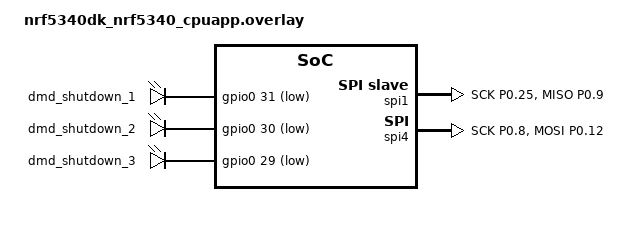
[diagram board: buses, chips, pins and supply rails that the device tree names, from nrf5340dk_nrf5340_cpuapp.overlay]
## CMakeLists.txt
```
cmake_minimum_required(VERSION 3.20.0)

set(BOARD nrf5340dk/nrf5340/cpuapp)

find_package(Zephyr REQUIRED HINTS $ENV{ZEPHYR_BASE})
project(oh_my_dmd)

target_sources(app PRIVATE
    src/main.c
    src/dmd_control.c
    src/vlc_tx.c
)

target_include_directories(app PRIVATE src)
```

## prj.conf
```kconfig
CONFIG_GPIO=y

CONFIG_CONSOLE=y
CONFIG_PRINTK=y
CONFIG_SERIAL=y
CONFIG_STDOUT_CONSOLE=y
CONFIG_UART_CONSOLE=y

CONFIG_NRFX_SPIS=y
CONFIG_NRFX_SPIM=y
CONFIG_NRFX_TIMER=y

CONFIG_MAIN_THREAD_PRIORITY=5
CONFIG_MAIN_STACK_SIZE=2048
```

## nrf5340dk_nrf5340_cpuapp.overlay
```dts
&pinctrl {
    dmd_spis1_default: dmd_spis1_default {
        group1 {
            psels = <NRF_PSEL(SPIS_SCK, 0, 25)>,
                    <NRF_PSEL(SPIS_MISO, 0, 9)>;
        };
    };

    dmd_spim4_default: dmd_spim4_default {
        group1 {
            psels = <NRF_PSEL(SPIM_SCK, 0, 8)>,
                    <NRF_PSEL(SPIM_MOSI, 0, 12)>;
        };
    };

    dmd_spim4_sleep: dmd_spim4_sleep {
        group1 {
            psels = <NRF_PSEL(SPIM_SCK, 0, 8)>,
                    <NRF_PSEL(SPIM_MOSI, 0, 12)>;
            low-power-enable;
        };
    };
};

&spi1 {
    status = "okay";
    compatible = "nordic,nrf-spis";
    pinctrl-0 = <&dmd_spis1_default>;
    pinctrl-names = "default";
    def-char = <0x00>;
};

&spi4 {
    status = "okay";
    compatible = "nordic,nrf-spim";
    pinctrl-0 = <&dmd_spim4_default>;
    pinctrl-1 = <&dmd_spim4_sleep>;
    pinctrl-names = "default", "sleep";
};

/ {
    aliases {
        shut1 = &dmd_shutdown_1;
        shut2 = &dmd_shutdown_2;
        shut3 = &dmd_shutdown_3;
    };

    dmd_shutdowns {
        compatible = "gpio-leds";

        dmd_shutdown_1: dmd_shutdown_1 {
            gpios = <&gpio0 31 GPIO_ACTIVE_LOW>;
        };

        dmd_shutdown_2: dmd_shutdown_2 {
            gpios = <&gpio0 30 GPIO_ACTIVE_LOW>;
        };

        dmd_shutdown_3: dmd_shutdown_3 {
            gpios = <&gpio0 29 GPIO_ACTIVE_LOW>;
        };
    };
};
```

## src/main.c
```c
#include <errno.h>
#include <stdint.h>

#include <zephyr/kernel.h>
#include <zephyr/sys/printk.h>

#include "vlc_tx.h"

int main(void) {
  printk("oh-my-dmd\n");

  int ret = vlc_tx_init();

  if (ret != 0) {
    printk("VLC TX init failed: %d\n", ret);
    return ret;
  }

  printk("VLC TX ready\n");

  uint32_t sequence = 0;
  char message[64];

  while (true) {
    // Send START to indicate start of transmission
    int len = snprintk(message, sizeof(message), "START");
    if (len < 0 || (size_t)len >= sizeof(message)) {
      printk("Message formatting failed: %d\n", len);
      return -EINVAL;
    }
    int ret = vlc_tx_send((const uint8_t *)message, (uint32_t)len, K_FOREVER);
    if (ret != 0) {
      printk("VLC TX send failed: %d\n", ret);
      return ret;
    }

    sequence = 0;
    for (int i = 0; i < 1000; ++i) {
      int len = snprintk(message, sizeof(message), "Hello, world! seq=%lu",
                         (unsigned long)sequence);

      if (len < 0 || (size_t)len >= sizeof(message)) {
        printk("Message formatting failed: %d\n", len);
        return -EINVAL;
      }

      ret = vlc_tx_send((const uint8_t *)message, (uint32_t)len, K_FOREVER);

      if (ret != 0) {
        printk("VLC TX send failed: %d\n", ret);
        return ret;
      }

      ret = vlc_tx_get_error();

      if (ret != 0) {
        printk("VLC TX failed: %d\n", ret);
        return ret;
      }

      printk("Sent: %s\n", message);

      ++sequence;
      k_msleep(5);
    }

    // Send STOP to indicate end of transmission
    len = snprintk(message, sizeof(message), "STOP");
    if (len < 0 || (size_t)len >= sizeof(message)) {
      printk("Message formatting failed: %d\n", len);
      return -EINVAL;
    }
    ret = vlc_tx_send((const uint8_t *)message, (uint32_t)len, K_FOREVER);
    if (ret != 0) {
      printk("VLC TX send failed: %d\n", ret);
      return ret;
    }
    k_msleep(3000);
  }
}
```

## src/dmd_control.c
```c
#include "dmd_control.h"

#include <errno.h>

#include <nrfx_clock.h>
#include <nrfx_spim.h>
#include <nrfx_spis.h>
#include <zephyr/devicetree.h>
#include <zephyr/drivers/gpio.h>
#include <zephyr/irq.h>
#include <zephyr/kernel.h>
#include <zephyr/sys/util.h>

#define DMD_WAVEFORM_BYTES 14
#define DMD_SPIM_FREQUENCY_MHZ 16

#ifndef DMD_SPIM_IRQ_PRIORITY
#define DMD_SPIM_IRQ_PRIORITY 1
#endif

#ifndef DMD_DRC_B_CLK_PIN
#define DMD_DRC_B_CLK_PIN 8
#endif

#ifndef DMD_DRC_B_DATA_PIN
#define DMD_DRC_B_DATA_PIN 12
#endif

#ifndef DMD_DRC_B_LOADB_PIN
#define DMD_DRC_B_LOADB_PIN 6
#endif

#ifndef DMD_DRC_S_CLK_PIN
#define DMD_DRC_S_CLK_PIN 25
#endif

#ifndef DMD_DRC_S_CSN_PIN
#define DMD_DRC_S_CSN_PIN 26
#endif

#ifndef DMD_DRC_S_DATA_PIN
#define DMD_DRC_S_DATA_PIN 9
#endif

#ifndef DMD_POWER_RAIL_SETTLE_MS
#define DMD_POWER_RAIL_SETTLE_MS 5000
#endif

#ifndef DMD_BOOT_SETTLE_MS
#define DMD_BOOT_SETTLE_MS 5000
#endif

static nrfx_spim_t dmd_spim = NRFX_SPIM_INSTANCE(NRF_SPIM_INST_GET(4));
static nrfx_spis_t dmd_spis = NRFX_SPIS_INSTANCE(NRF_SPIS_INST_GET(1));

static bool dmd_initialized;
static volatile bool dmd_spim_busy;

static uint8_t dmd_drc_b_0[DMD_WAVEFORM_BYTES] = {
    0xFF, 0xFF, 0xFF, 0xC6, 0x7F, 0xFF, 0xC0,
    0x7F, 0xFF, 0x05, 0xFF, 0xFF, 0xFF, 0xFF,
};

static uint8_t dmd_drc_b_1[DMD_WAVEFORM_BYTES] = {
    0xFF, 0xFF, 0xFF, 0x86, 0x7F, 0xFF, 0x80,
    0x7F, 0xFE, 0x05, 0xFF, 0xFF, 0xFF, 0xFF,
};

static uint8_t dmd_sac_b_buffer[DMD_WAVEFORM_BYTES] = {
    0x00, 0x00, 0x00, 0x80, 0x00, 0x00, 0x80,
    0x00, 0x02, 0x00, 0x00, 0x00, 0x00, 0x00,
};

static const struct gpio_dt_spec dmd_shutdowns[] = {
    GPIO_DT_SPEC_GET(DT_ALIAS(shut1), gpios),
    GPIO_DT_SPEC_GET(DT_ALIAS(shut2), gpios),
    GPIO_DT_SPEC_GET(DT_ALIAS(shut3), gpios),
};

static nrfx_spim_config_t dmd_make_spim_config(void) {
  nrfx_spim_config_t spim_config =
      NRFX_SPIM_DEFAULT_CONFIG(DMD_DRC_B_CLK_PIN, DMD_DRC_B_DATA_PIN,
                               NRF_SPIM_PIN_NOT_CONNECTED, DMD_DRC_B_LOADB_PIN);

  spim_config.frequency = NRFX_MHZ_TO_HZ(DMD_SPIM_FREQUENCY_MHZ);
  spim_config.mode = NRF_SPIM_MODE_2;
  spim_config.irq_priority = DMD_SPIM_IRQ_PRIORITY;
#if NRF_SPIM_HAS_HW_CSN
  spim_config.use_hw_ss = true;
  spim_config.ss_duration = 8;
#endif

  return spim_config;
}

static void shift_right(uint8_t *data, size_t len, uint8_t shift) {
  while (shift-- > 0) {
    for (size_t i = len - 1; i > 0; --i) {
      uint8_t carry = (data[i - 1] & 1U) ? 0x80 : 0x00;

      data[i] = carry | (data[i] >> 1);
    }

    data[0] >>= 1;
  }
}

static void dmd_spis_handler(nrfx_spis_event_t const *event, void *context) {
  ARG_UNUSED(context);

  if (event->evt_type != NRFX_SPIS_XFER_DONE) {
    return;
  }

  (void)nrfx_spis_buffers_set(&dmd_spis, dmd_sac_b_buffer,
                              sizeof(dmd_sac_b_buffer), NULL, 0);
}

static void dmd_spim_handler(nrfx_spim_event_t const *event, void *context) {
  ARG_UNUSED(context);

  if (event->type == NRFX_SPIM_EVENT_DONE) {
    dmd_spim_busy = false;
  }
}

static int dmd_control_power_up(void) {
  for (size_t i = 0; i < ARRAY_SIZE(dmd_shutdowns); ++i) {
    if (!gpio_is_ready_dt(&dmd_shutdowns[i])) {
      return -ENODEV;
    }

    int ret = gpio_pin_configure_dt(&dmd_shutdowns[i], GPIO_OUTPUT_ACTIVE);

    if (ret != 0) {
      return ret;
    }
  }

  k_msleep(DMD_POWER_RAIL_SETTLE_MS);

  for (size_t i = 0; i < ARRAY_SIZE(dmd_shutdowns); ++i) {
    int ret = gpio_pin_set_dt(&dmd_shutdowns[i], 0);

    if (ret != 0) {
      return ret;
    }
  }

  k_msleep(DMD_BOOT_SETTLE_MS);
  return 0;
}

int dmd_control_init(void) {
  if (dmd_initialized) {
    return 0;
  }

  int ret = dmd_control_power_up();

  if (ret != 0) {
    return ret;
  }

  nrfx_clock_divider_set(NRF_CLOCK_DOMAIN_HFCLK, NRF_CLOCK_HFCLK_DIV_1);

  IRQ_CONNECT(NRFX_IRQ_NUMBER_GET(NRF_SPIS_INST_GET(1)), IRQ_PRIO_LOWEST,
              nrfx_spis_irq_handler, &dmd_spis, 0);
  IRQ_CONNECT(NRFX_IRQ_NUMBER_GET(NRF_SPIM_INST_GET(4)), DMD_SPIM_IRQ_PRIORITY,
              nrfx_spim_irq_handler, &dmd_spim, 0);

  shift_right(dmd_sac_b_buffer, sizeof(dmd_sac_b_buffer), 2);

  nrfx_spis_config_t spis_config =
      NRFX_SPIS_DEFAULT_CONFIG(DMD_DRC_S_CLK_PIN, NRF_SPIS_PIN_NOT_CONNECTED,
                               DMD_DRC_S_DATA_PIN, DMD_DRC_S_CSN_PIN);

  spis_config.miso_drive = NRF_GPIO_PIN_H0H1;
  spis_config.mode = NRF_SPIS_MODE_2;
  spis_config.bit_order = NRF_SPIS_BIT_ORDER_MSB_FIRST;

  int err = nrfx_spis_init(&dmd_spis, &spis_config, dmd_spis_handler, NULL);

  if (err != 0 && err != -EALREADY) {
    return err;
  }

  err = nrfx_spis_buffers_set(&dmd_spis, dmd_sac_b_buffer,
                              sizeof(dmd_sac_b_buffer), NULL, 0);

  if (err != 0) {
    return err;
  }

  nrfx_spim_config_t spim_config = dmd_make_spim_config();

  err = nrfx_spim_init(&dmd_spim, &spim_config, dmd_spim_handler, NULL);

  if (err != 0 && err != -EALREADY) {
    return err;
  }

  dmd_spim_busy = false;
  dmd_initialized = true;

  return 0;
}

bool dmd_control_ready(void) { return dmd_initialized && !dmd_spim_busy; }

int dmd_send_bit_async(bool bit) {
  if (!dmd_initialized) {
    int ret = dmd_control_init();

    if (ret != 0) {
      return ret;
    }
  }

  if (dmd_spim_busy) {
    return -EBUSY;
  }

  uint8_t *tx_buffer = bit ? dmd_drc_b_1 : dmd_drc_b_0;

  nrfx_spim_xfer_desc_t xfer =
      NRFX_SPIM_XFER_TRX(tx_buffer, DMD_WAVEFORM_BYTES, NULL, 0);

  dmd_spim_busy = true;

  int err = nrfx_spim_xfer(&dmd_spim, &xfer, 0);

  if (err != 0) {
    dmd_spim_busy = false;
  }

  return err;
}

int dmd_send_bit(bool bit) {
  int ret = dmd_send_bit_async(bit);

  if (ret != 0) {
    return ret;
  }

  while (!dmd_control_ready()) {
    k_busy_wait(1);
  }

  return 0;
}
```

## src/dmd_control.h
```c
#pragma once

#include <stdbool.h>

int dmd_control_init(void);
int dmd_send_bit_async(bool bit);
bool dmd_control_ready(void);

int dmd_send_bit(bool bit);

static inline int dmd_send_0(void) { return dmd_send_bit(false); }

static inline int dmd_send_1(void) { return dmd_send_bit(true); }

static inline int dmd_send_0_async(void) { return dmd_send_bit_async(false); }

static inline int dmd_send_1_async(void) { return dmd_send_bit_async(true); }
```

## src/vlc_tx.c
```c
#include "vlc_tx.h"

#include <errno.h>
#include <stdbool.h>
#include <stdint.h>
#include <string.h>

#include <nrfx_timer.h>
#include <zephyr/irq.h>
#include <zephyr/kernel.h>
#include <zephyr/sys/clock.h>
#include <zephyr/sys/util.h>

#include "dmd_control.h"

#ifndef VLC_TX_MAX_PAYLOAD_LEN
#define VLC_TX_MAX_PAYLOAD_LEN 255
#endif

#ifndef VLC_TX_QUEUE_DEPTH
#define VLC_TX_QUEUE_DEPTH 4
#endif

#ifndef VLC_TX_HALF_BIT_US
#define VLC_TX_HALF_BIT_US 40
#endif

#ifndef VLC_TX_TIMER_INSTANCE
#define VLC_TX_TIMER_INSTANCE 2
#endif

#ifndef VLC_TX_TIMER_IRQ_PRIORITY
#define VLC_TX_TIMER_IRQ_PRIORITY 1
#endif

#ifndef VLC_TX_STAGING_THREAD_PRIORITY
#define VLC_TX_STAGING_THREAD_PRIORITY 1
#endif

#ifndef VLC_TX_STAGING_THREAD_STACK_SIZE
#define VLC_TX_STAGING_THREAD_STACK_SIZE 2048
#endif

#ifndef VLC_TX_WAIT_POLL_MS
#define VLC_TX_WAIT_POLL_MS 10
#endif

#ifndef VLC_TX_REMEMBER_LAST_BIT
#define VLC_TX_REMEMBER_LAST_BIT 1
#endif

#define VLC_TX_PREAMBLE_BYTE 0xAA
#define VLC_TX_PREAMBLE_LEN 4
#define VLC_TX_SFD 0xD5
#define VLC_TX_CRC_INIT 0xFFFF
#define VLC_TX_CRC_POLY 0x1021
#define VLC_TX_FRAME_OVERHEAD (VLC_TX_PREAMBLE_LEN + 1 + 1 + 2)
#define VLC_TX_MAX_FRAME_LEN (VLC_TX_FRAME_OVERHEAD + VLC_TX_MAX_PAYLOAD_LEN)
#define VLC_TX_FRAME_BUFFER_COUNT 2

struct vlc_tx_payload {
  uint8_t len;
  uint8_t data[VLC_TX_MAX_PAYLOAD_LEN];
};

struct vlc_tx_frame {
  uint16_t len;
  uint8_t data[VLC_TX_MAX_FRAME_LEN];
};

K_MSGQ_DEFINE(vlc_tx_payload_queue, sizeof(struct vlc_tx_payload),
              VLC_TX_QUEUE_DEPTH, 4);
K_SEM_DEFINE(vlc_tx_free_frame_sem, VLC_TX_FRAME_BUFFER_COUNT,
             VLC_TX_FRAME_BUFFER_COUNT);
K_SEM_DEFINE(vlc_tx_pending_slot_sem, 1, 1);

static nrfx_timer_t vlc_tx_timer =
    NRFX_TIMER_INSTANCE(NRF_TIMER_INST_GET(VLC_TX_TIMER_INSTANCE));

static struct vlc_tx_frame vlc_tx_frames[VLC_TX_FRAME_BUFFER_COUNT];
static bool vlc_tx_frame_busy[VLC_TX_FRAME_BUFFER_COUNT];

static volatile int vlc_tx_error;
static bool vlc_tx_initialized;

static volatile int vlc_tx_active_frame = -1;
static volatile int vlc_tx_pending_frame = -1;
static volatile uint32_t vlc_tx_active_chip_index;
static bool vlc_tx_last_bit;
static bool vlc_tx_last_bit_valid;

static uint32_t vlc_tx_half_bit_ticks;
static uint32_t vlc_tx_next_compare_ticks;

static uint16_t vlc_tx_crc16_update(uint16_t crc, uint8_t byte) {
  crc ^= (uint16_t)byte << 8;

  for (uint8_t bit = 0; bit < 8; ++bit) {
    if ((crc & 0x8000U) != 0U) {
      crc = (uint16_t)((crc << 1) ^ VLC_TX_CRC_POLY);
    } else {
      crc = (uint16_t)(crc << 1);
    }
  }

  return crc;
}

static void vlc_tx_build_frame(struct vlc_tx_frame *frame,
                               const struct vlc_tx_payload *payload) {
  uint16_t offset = 0;

  for (uint8_t i = 0; i < VLC_TX_PREAMBLE_LEN; ++i) {
    frame->data[offset++] = VLC_TX_PREAMBLE_BYTE;
  }

  frame->data[offset++] = VLC_TX_SFD;
  frame->data[offset++] = payload->len;

  uint16_t crc = vlc_tx_crc16_update(VLC_TX_CRC_INIT, payload->len);

  for (uint8_t i = 0; i < payload->len; ++i) {
    frame->data[offset++] = payload->data[i];
    crc = vlc_tx_crc16_update(crc, payload->data[i]);
  }

  frame->data[offset++] = (uint8_t)(crc >> 8);
  frame->data[offset++] = (uint8_t)crc;
  frame->len = offset;
}

static bool vlc_tx_chip_for_index(const struct vlc_tx_frame *frame,
                                  uint32_t chip_index) {
  uint32_t bit_index = chip_index / 2U;
  uint8_t byte = frame->data[bit_index / 8U];
  uint8_t bit_offset = 7U - (uint8_t)(bit_index % 8U);
  bool raw_one = (byte & BIT(bit_offset)) != 0U;
  bool second_half = (chip_index & 1U) != 0U;

  return raw_one ? second_half : !second_half;
}

static void vlc_tx_promote_pending_frame(void) {
  if (vlc_tx_active_frame >= 0 || vlc_tx_pending_frame < 0) {
    return;
  }

  vlc_tx_active_frame = vlc_tx_pending_frame;
  vlc_tx_pending_frame = -1;
  vlc_tx_active_chip_index = 0;
  k_sem_give(&vlc_tx_pending_slot_sem);
}

static void vlc_tx_finish_active_frame(void) {
  int frame_index = vlc_tx_active_frame;

  if (frame_index < 0) {
    return;
  }

  vlc_tx_active_frame = -1;
  vlc_tx_active_chip_index = 0;
  vlc_tx_frame_busy[frame_index] = false;
  k_sem_give(&vlc_tx_free_frame_sem);
}

static bool vlc_tx_next_chip(void) {
  vlc_tx_promote_pending_frame();

  if (vlc_tx_active_frame < 0) {
    return true;
  }

  struct vlc_tx_frame *frame = &vlc_tx_frames[vlc_tx_active_frame];
  bool chip = vlc_tx_chip_for_index(frame, vlc_tx_active_chip_index);

  ++vlc_tx_active_chip_index;

  if (vlc_tx_active_chip_index >= ((uint32_t)frame->len * 8U * 2U)) {
    vlc_tx_finish_active_frame();
  }

  return chip;
}

static void vlc_tx_fail(int error) {
  if (error == 0) {
    error = -EIO;
  }

  if (vlc_tx_error == 0) {
    vlc_tx_error = error;
  }

  nrfx_timer_disable(&vlc_tx_timer);
}

static int vlc_tx_send_chip(bool chip) {
#if VLC_TX_REMEMBER_LAST_BIT
  if (vlc_tx_last_bit_valid && vlc_tx_last_bit == chip) {
    return dmd_control_ready() ? 0 : -EBUSY;
  }
#endif

  int ret = dmd_send_bit_async(chip);

  if (ret == 0) {
    vlc_tx_last_bit = chip;
    vlc_tx_last_bit_valid = true;
  }

  return ret;
}

static void vlc_tx_timer_handler(nrf_timer_event_t event_type, void *context) {
  ARG_UNUSED(context);

  if (event_type != NRF_TIMER_EVENT_COMPARE0) {
    return;
  }

  vlc_tx_next_compare_ticks += vlc_tx_half_bit_ticks;

  uint32_t now = nrfx_timer_capture(&vlc_tx_timer, NRF_TIMER_CC_CHANNEL1);

  if ((int32_t)(now - vlc_tx_next_compare_ticks) >= 0) {
    vlc_tx_fail(-EIO);
    return;
  }

  nrfx_timer_compare(&vlc_tx_timer, NRF_TIMER_CC_CHANNEL0,
                     vlc_tx_next_compare_ticks, true);

  int ret = vlc_tx_send_chip(vlc_tx_next_chip());

  if (ret != 0) {
    vlc_tx_fail(ret);
  }
}

static int vlc_tx_reserve_frame(void) {
  int frame_index = -1;
  unsigned int key = irq_lock();

  for (int i = 0; i < VLC_TX_FRAME_BUFFER_COUNT; ++i) {
    if (!vlc_tx_frame_busy[i]) {
      vlc_tx_frame_busy[i] = true;
      frame_index = i;
      break;
    }
  }

  irq_unlock(key);
  return frame_index;
}

static void vlc_tx_release_frame(int frame_index) {
  unsigned int key = irq_lock();

  vlc_tx_frame_busy[frame_index] = false;

  irq_unlock(key);
  k_sem_give(&vlc_tx_free_frame_sem);
}

static void vlc_tx_publish_frame(int frame_index) {
  unsigned int key = irq_lock();

  vlc_tx_pending_frame = frame_index;

  irq_unlock(key);
}

static int vlc_tx_take_sem_interruptible(struct k_sem *sem) {
  while (vlc_tx_error == 0) {
    int ret = k_sem_take(sem, K_MSEC(VLC_TX_WAIT_POLL_MS));

    if (ret == 0) {
      return 0;
    }

    if (ret != -EAGAIN) {
      return ret;
    }
  }

  return -EIO;
}

static k_timeout_t vlc_tx_wait_chunk(k_timepoint_t deadline) {
  k_timeout_t remaining = sys_timepoint_timeout(deadline);

  if (K_TIMEOUT_EQ(remaining, K_NO_WAIT) ||
      K_TIMEOUT_EQ(remaining, K_FOREVER)) {
    return remaining;
  }

  k_timeout_t poll = K_MSEC(VLC_TX_WAIT_POLL_MS);

  return remaining.ticks < poll.ticks ? remaining : poll;
}

static void vlc_tx_staging_thread(void *arg1, void *arg2, void *arg3) {
  ARG_UNUSED(arg1);
  ARG_UNUSED(arg2);
  ARG_UNUSED(arg3);

  while (true) {
    struct vlc_tx_payload payload;

    (void)k_msgq_get(&vlc_tx_payload_queue, &payload, K_FOREVER);

    if (vlc_tx_error != 0) {
      continue;
    }

    int ret = vlc_tx_take_sem_interruptible(&vlc_tx_pending_slot_sem);

    if (ret != 0) {
      continue;
    }

    ret = vlc_tx_take_sem_interruptible(&vlc_tx_free_frame_sem);

    if (ret != 0) {
      k_sem_give(&vlc_tx_pending_slot_sem);
      continue;
    }

    int frame_index = vlc_tx_reserve_frame();

    if (frame_index < 0) {
      k_sem_give(&vlc_tx_free_frame_sem);
      k_sem_give(&vlc_tx_pending_slot_sem);
      continue;
    }

    if (vlc_tx_error != 0) {
      vlc_tx_release_frame(frame_index);
      k_sem_give(&vlc_tx_pending_slot_sem);
      continue;
    }

    vlc_tx_build_frame(&vlc_tx_frames[frame_index], &payload);
    vlc_tx_publish_frame(frame_index);
  }
}

K_THREAD_DEFINE(vlc_tx_staging_thread_id, VLC_TX_STAGING_THREAD_STACK_SIZE,
                vlc_tx_staging_thread, NULL, NULL, NULL,
                VLC_TX_STAGING_THREAD_PRIORITY, 0, 0);

int vlc_tx_init(void) {
  if (vlc_tx_initialized) {
    return 0;
  }

  int ret = dmd_control_init();

  if (ret != 0) {
    return ret;
  }

  IRQ_CONNECT(NRFX_IRQ_NUMBER_GET(NRF_TIMER_INST_GET(VLC_TX_TIMER_INSTANCE)),
              VLC_TX_TIMER_IRQ_PRIORITY, nrfx_timer_irq_handler, &vlc_tx_timer,
              0);

  uint32_t base_frequency = NRF_TIMER_BASE_FREQUENCY_GET(vlc_tx_timer.p_reg);
  nrfx_timer_config_t config = NRFX_TIMER_DEFAULT_CONFIG(base_frequency);

  config.bit_width = NRF_TIMER_BIT_WIDTH_32;

  ret = nrfx_timer_init(&vlc_tx_timer, &config, vlc_tx_timer_handler);

  if (ret != 0 && ret != -EALREADY) {
    return ret;
  }

  vlc_tx_half_bit_ticks =
      nrfx_timer_us_to_ticks(&vlc_tx_timer, VLC_TX_HALF_BIT_US);
  vlc_tx_next_compare_ticks = vlc_tx_half_bit_ticks;
  vlc_tx_error = 0;
  vlc_tx_active_frame = -1;
  vlc_tx_pending_frame = -1;
  vlc_tx_active_chip_index = 0;
  vlc_tx_last_bit = false;
  vlc_tx_last_bit_valid = false;

  ret = vlc_tx_send_chip(true);

  if (ret != 0) {
    return ret;
  }

  nrfx_timer_clear(&vlc_tx_timer);
  nrfx_timer_compare(&vlc_tx_timer, NRF_TIMER_CC_CHANNEL0,
                     vlc_tx_next_compare_ticks, true);
  nrfx_timer_enable(&vlc_tx_timer);

  vlc_tx_initialized = true;
  return 0;
}

int vlc_tx_send(const uint8_t *buf, uint32_t len, k_timeout_t timeout) {
  if (len > VLC_TX_MAX_PAYLOAD_LEN) {
    return -EMSGSIZE;
  }

  if (buf == NULL && len > 0U) {
    return -EINVAL;
  }

  if (k_is_in_isr() && !K_TIMEOUT_EQ(timeout, K_NO_WAIT)) {
    return -EINVAL;
  }

  if (!vlc_tx_initialized || vlc_tx_error != 0) {
    return -EIO;
  }

  struct vlc_tx_payload payload = {0};

  payload.len = (uint8_t)len;

  if (len > 0U) {
    memcpy(payload.data, buf, len);
  }

  if (K_TIMEOUT_EQ(timeout, K_NO_WAIT)) {
    return k_msgq_put(&vlc_tx_payload_queue, &payload, K_NO_WAIT);
  }

  k_timepoint_t deadline = sys_timepoint_calc(timeout);

  while (true) {
    if (vlc_tx_error != 0) {
      return -EIO;
    }

    int ret = k_msgq_put(&vlc_tx_payload_queue, &payload, K_NO_WAIT);

    if (ret == 0) {
      return 0;
    }

    if (ret != -ENOMSG) {
      return ret;
    }

    k_timeout_t wait = vlc_tx_wait_chunk(deadline);

    if (K_TIMEOUT_EQ(wait, K_NO_WAIT)) {
      return -EAGAIN;
    }

    ret = k_msgq_put(&vlc_tx_payload_queue, &payload, wait);

    if (ret == 0) {
      return 0;
    }

    if (ret != -EAGAIN && ret != -ENOMSG) {
      return ret;
    }
  }
}

int vlc_tx_get_error(void) { return vlc_tx_error; }
```

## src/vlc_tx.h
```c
#pragma once

#include <stdint.h>

#include <zephyr/kernel.h>

int vlc_tx_init(void);
int vlc_tx_send(const uint8_t *buf, uint32_t len, k_timeout_t timeout);
int vlc_tx_get_error(void);
```
